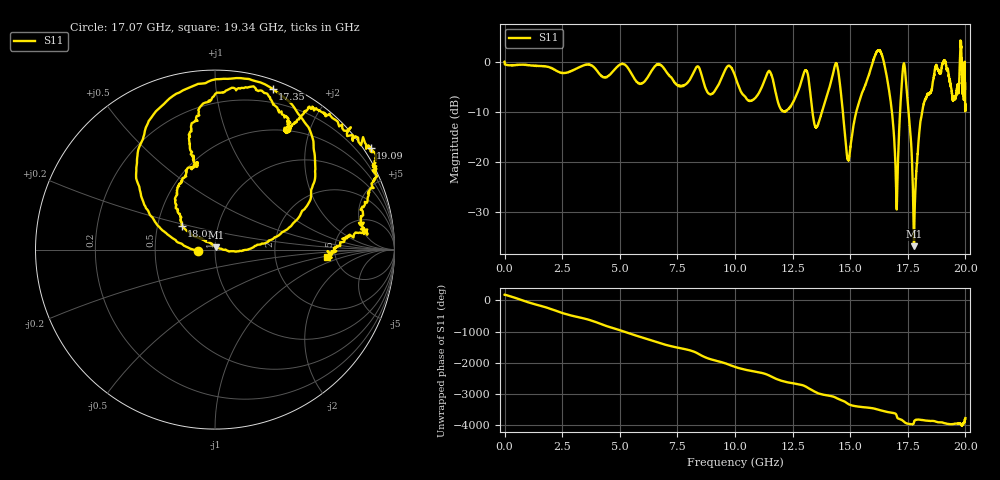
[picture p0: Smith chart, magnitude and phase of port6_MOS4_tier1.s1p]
! Created with skrf 1.8.0 (http://scikit-rf.org).
# GHz S RI R 50.0
!freq ReS11 ImS11
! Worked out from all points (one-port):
!   10001 points, 1 MHz to 20 GHz, reference 50 ohm
!   lowest |S11| = -36.8 dB at 17.77 GHz (marker M1), VSWR 1.03, Z = 50.5 + j1.38 ohm
!   |S11| at or under -10 dB: 13.36 GHz to 13.77 GHz (411.1 MHz wide, 3.03 % of centre); 14.68 GHz to 15.26 GHz (582.4 MHz wide, 3.89 % of centre); 17.53 GHz to 18.13 GHz (591.3 MHz wide, 3.32 % of centre) (the widest 3 of 4)
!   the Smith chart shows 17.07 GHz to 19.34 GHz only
!   S11 on the Smith chart (normalised r, x): 17.07 GHz: 0.83, -0.02; 17.35 GHz: 0.07, +1.42; 18.02 GHz: 0.67, +0.19; 19.09 GHz: -0.21, +3.35; 19.34 GHz: 4.27, -0.60
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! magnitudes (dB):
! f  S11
! 1 MHz  0.0
! 2.501 GHz  -2.2
! 5.001 GHz  -0.6
! 7.501 GHz  -4.6
! 10 GHz  -2.8
! 10.67 GHz  -7.8
! 11.5 GHz  -1.8
! 12.01 GHz  -9.6
! 12.5 GHz  -8.2
! 13.09 GHz  -1.7
! 13.55 GHz  -12.9
! 14.4 GHz  -0.3
! 14.85 GHz  -18.5
! 15 GHz  -17.4
! 16.25 GHz  2.2
! 16.62 GHz  -3.9
! 16.97 GHz  -21.6
! 17.07 GHz  -20.7
! 17.23 GHz  -5.1
! 17.35 GHz  -0.4
! 17.5 GHz  -8.3
! 17.77 GHz  -36.8
! 18.02 GHz  -12.8
! 19.09 GHz  0.3
! 19.34 GHz  -4.1
! 19.53 GHz  -7.3
! 19.81 GHz  2.7
! 20 GHz  -9.5
